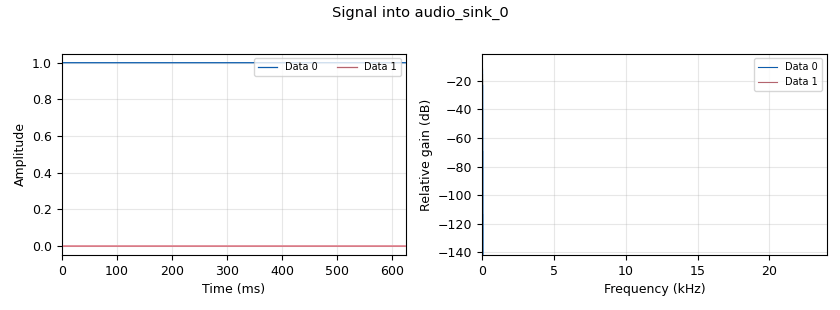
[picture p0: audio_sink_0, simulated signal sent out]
<?xml version='1.0' encoding='utf-8'?>
<flow_graph>
<block>
<key>options</key>
<param><key>id</key><value>top_block</value></param>
<param><key>generate_options</key><value>wx_gui</value></param>
<param><key>category</key><value>Custom</value></param>
</block>
<block>
<key>variable</key>
<param><key>id</key><value>samp_rate</value></param>
<param><key>value</key><value>48000</value></param>
</block>
<block>
<key>blocks_complex_to_float</key>
<param><key>id</key><value>blocks_complex_to_float_0</value></param>
</block>
<block>
<key>audio_sink</key>
<param><key>id</key><value>audio_sink_0</value></param>
<param><key>samp_rate</key><value>samp_rate</value></param>
<param><key>num_inputs</key><value>2</value></param>
</block>
<block>
<key>analog_sig_source_x</key>
<param><key>id</key><value>motor_drive</value></param>
<param><key>type</key><value>complex</value></param>
<param><key>samp_rate</key><value>samp_rate</value></param>
<param><key>waveform</key><value>analog.GR_COS_WAVE</value></param>
<param><key>freq</key><value>steps_per_second/4</value></param>
<param><key>amp</key><value>1</value></param>
<param><key>offset</key><value>0</value></param>
</block>
<block>
<key>variable_slider</key>
<param><key>id</key><value>steps_per_second</value></param>
<param><key>label</key><value>Steps per Second</value></param>
<param><key>value</key><value>0</value></param>
<param><key>min</key><value>-400</value></param>
<param><key>max</key><value>400</value></param>
<param><key>num_steps</key><value>800</value></param>
<param><key>style</key><value>wx.SL_HORIZONTAL</value></param>
<param><key>converver</key><value>float_converter</value></param>
</block>
<connection><source_block_id>motor_drive</source_block_id><sink_block_id>blocks_complex_to_float_0</sink_block_id><source_key>0</source_key><sink_key>0</sink_key></connection>
<connection><source_block_id>blocks_complex_to_float_0</source_block_id><sink_block_id>audio_sink_0</sink_block_id><source_key>1</source_key><sink_key>1</sink_key></connection>
<connection><source_block_id>blocks_complex_to_float_0</source_block_id><sink_block_id>audio_sink_0</sink_block_id><source_key>0</source_key><sink_key>0</sink_key></connection>
</flow_graph>
